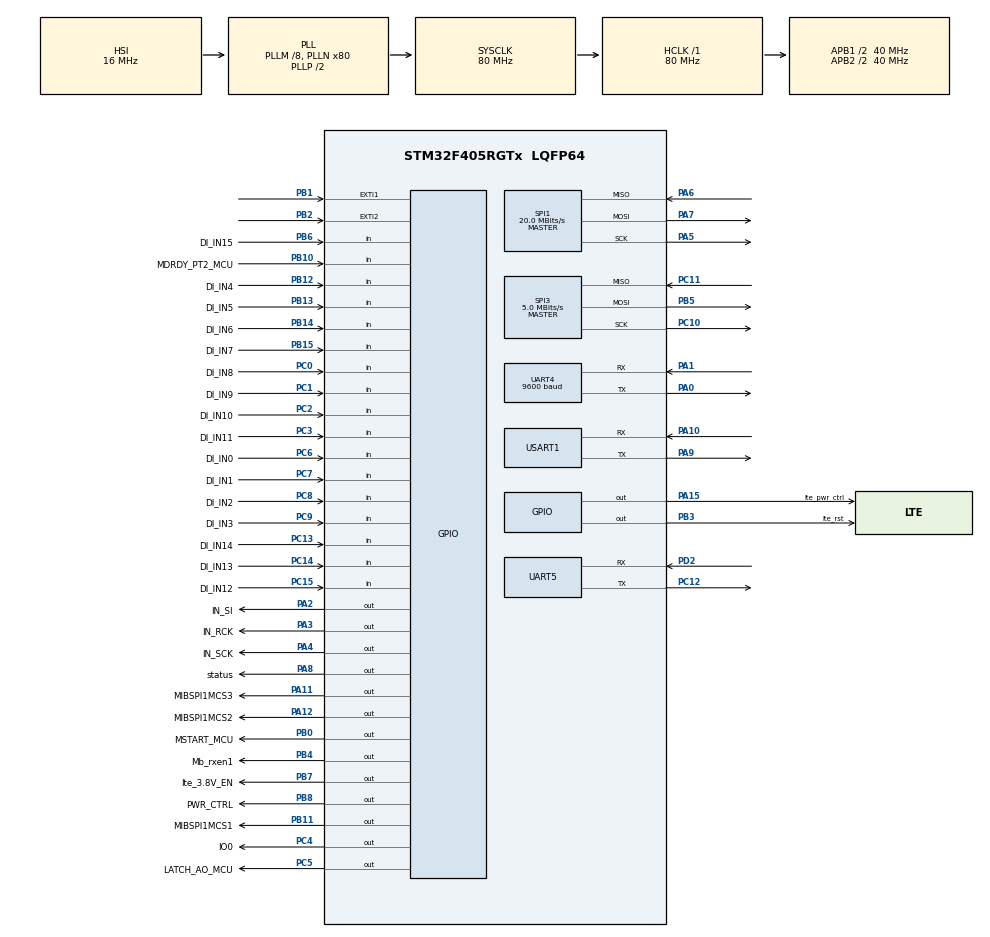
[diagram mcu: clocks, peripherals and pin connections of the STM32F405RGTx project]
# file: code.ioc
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Dma.Request0=UART4_RX
Dma.Request1=UART5_RX
Dma.Request2=USART1_RX
Dma.UART4_RX.0.Direction=DMA_PERIPH_TO_MEMORY
Dma.UART4_RX.0.FIFOMode=DMA_FIFOMODE_DISABLE
Dma.UART4_RX.0.Instance=DMA1_Stream2
Dma.UART4_RX.0.MemDataAlignment=DMA_MDATAALIGN_BYTE
Dma.UART4_RX.0.MemInc=DMA_MINC_ENABLE
Dma.UART4_RX.0.Mode=DMA_NORMAL
Dma.UART4_RX.0.PeriphDataAlignment=DMA_PDATAALIGN_BYTE
Dma.UART4_RX.0.PeriphInc=DMA_PINC_DISABLE
Dma.UART4_RX.0.Priority=DMA_PRIORITY_LOW
Dma.UART5_RX.1.Direction=DMA_PERIPH_TO_MEMORY
Dma.UART5_RX.1.FIFOMode=DMA_FIFOMODE_DISABLE
Dma.UART5_RX.1.Instance=DMA1_Stream0
Dma.UART5_RX.1.MemDataAlignment=DMA_MDATAALIGN_BYTE
Dma.UART5_RX.1.MemInc=DMA_MINC_ENABLE
Dma.UART5_RX.1.Mode=DMA_NORMAL
Dma.UART5_RX.1.PeriphDataAlignment=DMA_PDATAALIGN_BYTE
Dma.UART5_RX.1.PeriphInc=DMA_PINC_DISABLE
Dma.UART5_RX.1.Priority=DMA_PRIORITY_LOW
Dma.USART1_RX.2.Direction=DMA_PERIPH_TO_MEMORY
Dma.USART1_RX.2.FIFOMode=DMA_FIFOMODE_DISABLE
Dma.USART1_RX.2.Instance=DMA2_Stream2
Dma.USART1_RX.2.MemDataAlignment=DMA_MDATAALIGN_BYTE
Dma.USART1_RX.2.MemInc=DMA_MINC_ENABLE
Dma.USART1_RX.2.Mode=DMA_NORMAL
Dma.USART1_RX.2.PeriphDataAlignment=DMA_PDATAALIGN_BYTE
Dma.USART1_RX.2.PeriphInc=DMA_PINC_DISABLE
Dma.USART1_RX.2.Priority=DMA_PRIORITY_LOW
Mcu.Family=STM32F4
Mcu.Name=STM32F405RGTx
Mcu.Package=LQFP64
NVIC.DMA1_Stream0_IRQn=true\:0\:0\:false\:false\:true\:false\:true\:true
NVIC.DMA1_Stream2_IRQn=true\:0\:0\:false\:false\:true\:false\:true\:true
NVIC.DMA2_Stream2_IRQn=true\:0\:0\:false\:false\:true\:false\:true\:true
NVIC.EXTI1_IRQn=true\:0\:0\:false\:false\:true\:true\:true\:true
NVIC.EXTI2_IRQn=true\:0\:0\:false\:false\:true\:true\:true\:true
NVIC.PriorityGroup=NVIC_PRIORITYGROUP_4
NVIC.UART4_IRQn=true\:0\:0\:false\:false\:true\:true\:true\:true
NVIC.UART5_IRQn=true\:0\:0\:false\:false\:true\:true\:true\:true
NVIC.USART1_IRQn=true\:0\:0\:false\:false\:true\:true\:true\:true
PA0-WKUP.Mode=Asynchronous
PA0-WKUP.Signal=UART4_TX
PA1.Mode=Asynchronous
PA1.Signal=UART4_RX
PA10.Mode=Asynchronous
PA10.Signal=USART1_RX
PA11.GPIO_Label=MIBSPI1MCS3
PA11.Signal=GPIO_Output
PA12.GPIO_Label=MIBSPI1MCS2
PA12.Signal=GPIO_Output
PA13.Mode=Serial_Wire
PA13.Signal=SYS_JTMS-SWDIO
PA14.Mode=Serial_Wire
PA14.Signal=SYS_JTCK-SWCLK
PA15.GPIO_Label=lte_pwr_ctrl
PA15.Signal=GPIO_Output
PA2.GPIO_Label=IN_SI
PA2.Signal=GPIO_Output
PA3.GPIO_Label=IN_RCK
PA3.Signal=GPIO_Output
PA4.GPIO_Label=IN_SCK
PA4.Signal=GPIO_Output
PA5.Mode=Full_Duplex_Master
PA5.Signal=SPI1_SCK
PA6.Mode=Full_Duplex_Master
PA6.Signal=SPI1_MISO
PA7.Mode=Full_Duplex_Master
PA7.Signal=SPI1_MOSI
PA8.GPIO_Label=status
PA8.Signal=GPIO_Output
PA9.Mode=Asynchronous
PA9.Signal=USART1_TX
PB0.GPIO_Label=MSTART_MCU
PB0.Signal=GPIO_Output
PB1.GPIO_ModeDefaultEXTI=GPIO_MODE_IT_FALLING
PB1.GPIO_PuPd=GPIO_PULLUP
PB1.Signal=GPXTI1
PB10.GPIO_Label=MDRDY_PT2_MCU
PB10.Signal=GPIO_Input
PB11.GPIO_Label=MIBSPI1MCS1
PB11.GPIO_PuPd=GPIO_PULLUP
PB11.PinState=GPIO_PIN_SET
PB11.Signal=GPIO_Output
PB12.GPIO_Label=DI_IN4
PB12.Signal=GPIO_Input
PB13.GPIO_Label=DI_IN5
PB13.Signal=GPIO_Input
PB14.GPIO_Label=DI_IN6
PB14.Signal=GPIO_Input
PB15.GPIO_Label=DI_IN7
PB15.Signal=GPIO_Input
PB2.GPIO_ModeDefaultEXTI=GPIO_MODE_IT_FALLING
PB2.GPIO_PuPd=GPIO_PULLUP
PB2.Signal=GPXTI2
PB3.GPIO_Label=lte_rst
PB3.Signal=GPIO_Output
PB4.GPIO_Label=Mb_rxen1
PB4.Signal=GPIO_Output
PB5.Mode=Full_Duplex_Master
PB5.Signal=SPI3_MOSI
PB6.GPIO_Label=DI_IN15
PB6.Signal=GPIO_Input
PB7.GPIO_Label=lte_3.8V_EN
PB7.Signal=GPIO_Output
PB8.GPIO_Label=PWR_CTRL
PB8.Signal=GPIO_Output
PC0.GPIO_Label=DI_IN8
PC0.Signal=GPIO_Input
PC1.GPIO_Label=DI_IN9
PC1.Signal=GPIO_Input
PC10.Mode=Full_Duplex_Master
PC10.Signal=SPI3_SCK
PC11.Mode=Full_Duplex_Master
PC11.Signal=SPI3_MISO
PC12.Mode=Asynchronous
PC12.Signal=UART5_TX
PC13-ANTI_TAMP.GPIO_Label=DI_IN14
PC13-ANTI_TAMP.Signal=GPIO_Input
PC14-OSC32_IN.GPIO_Label=DI_IN13
PC14-OSC32_IN.Signal=GPIO_Input
PC15-OSC32_OUT.GPIO_Label=DI_IN12
PC15-OSC32_OUT.Signal=GPIO_Input
PC2.GPIO_Label=DI_IN10
PC2.Signal=GPIO_Input
PC3.GPIO_Label=DI_IN11
PC3.Signal=GPIO_Input
PC4.GPIO_Label=IO0
PC4.Signal=GPIO_Output
PC5.GPIO_Label=LATCH_AO_MCU
PC5.Signal=GPIO_Output
PC6.GPIO_Label=DI_IN0
PC6.Signal=GPIO_Input
PC7.GPIO_Label=DI_IN1
PC7.Signal=GPIO_Input
PC8.GPIO_Label=DI_IN2
PC8.Signal=GPIO_Input
PC9.GPIO_Label=DI_IN3
PC9.Signal=GPIO_Input
PD2.Mode=Asynchronous
PD2.Signal=UART5_RX
PH0-OSC_IN.Mode=HSE-External-Oscillator
PH0-OSC_IN.Signal=RCC_OSC_IN
PH1-OSC_OUT.Mode=HSE-External-Oscillator
PH1-OSC_OUT.Signal=RCC_OSC_OUT
ProjectManager.HeapSize=0x2000
ProjectManager.StackSize=0x10400
ProjectManager.TargetToolchain=MDK-ARM V5
RCC.48MHZClocksFreq_Value=40000000
RCC.AHBFreq_Value=80000000
RCC.APB1CLKDivider=RCC_HCLK_DIV2
RCC.APB1Freq_Value=40000000
RCC.APB1TimFreq_Value=80000000
RCC.APB2CLKDivider=RCC_HCLK_DIV2
RCC.APB2Freq_Value=40000000
RCC.APB2TimFreq_Value=80000000
RCC.CortexFreq_Value=80000000
RCC.HCLKFreq_Value=80000000
RCC.HSE_VALUE=8000000
RCC.HSI_VALUE=16000000
RCC.LSE_VALUE=32768
RCC.PLLM=8
RCC.PLLN=80
RCC.RCC_RTC_Clock_Source_FROM_HSE=RCC_RTCCLKSOURCE_HSE_DIV25
RCC.SYSCLKFreq_VALUE=80000000
RCC.SYSCLKSource=RCC_SYSCLKSOURCE_PLLCLK
RCC.VCOOutputFreq_Value=160000000
RTC.SynchPrediv=249
SPI1.BaudRatePrescaler=SPI_BAUDRATEPRESCALER_2
SPI1.CalculateBaudRate=20.0 MBits/s
SPI1.Direction=SPI_DIRECTION_2LINES
SPI1.Mode=SPI_MODE_MASTER
SPI1.VirtualType=VM_MASTER
SPI3.BaudRatePrescaler=SPI_BAUDRATEPRESCALER_8
SPI3.CalculateBaudRate=5.0 MBits/s
SPI3.Direction=SPI_DIRECTION_2LINES
SPI3.Mode=SPI_MODE_MASTER
SPI3.VirtualType=VM_MASTER
UART4.BaudRate=9600
UART4.VirtualMode=Asynchronous
UART5.VirtualMode=Asynchronous
USART1.VirtualMode=VM_ASYNC
VP_RTC_VS_RTC_Activate.Mode=RTC_Enabled
board=custom

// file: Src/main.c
/* USER CODE BEGIN Header */
/**
  ******************************************************************************
  * @file           : main.c
  * @brief          : Main program body
  ******************************************************************************
  * @attention
  *
  * <h2><center>&copy; Copyright (c) 2023 STMicroelectronics.
  * All rights reserved.</center></h2>
  *
  * This software component is licensed by ST under BSD 3-Clause license,
  * the "License"; You may not use this file except in compliance with the
  * License. You may obtain a copy of the License at:
  *                        opensource.org/licenses/BSD-3-Clause
  *
  ******************************************************************************
  */
/* USER CODE END Header */
#include "main.h"

/* USER CODE BEGIN Includes */
#include "app.h"
#include "update.h"
//#include "cat1.h"
/* USER CODE END Includes */

RTC_HandleTypeDef hrtc;

SPI_HandleTypeDef hspi1;
SPI_HandleTypeDef hspi3;

UART_HandleTypeDef huart4;
UART_HandleTypeDef huart5;
UART_HandleTypeDef huart1;
DMA_HandleTypeDef hdma_uart4_rx;
DMA_HandleTypeDef hdma_uart5_rx;
DMA_HandleTypeDef hdma_usart1_rx;

void SystemClock_Config(void);
static void MX_GPIO_Init(void);
static void MX_DMA_Init(void);
static void MX_SPI3_Init(void);
static void MX_UART4_Init(void);
static void MX_UART5_Init(void);
static void MX_USART1_UART_Init(void);
static void MX_SPI1_Init(void);
static void MX_RTC_Init(void);

int main(void)
{
  /* USER CODE BEGIN 1 */
	 #if defined(APP1)||defined(APP2)||defined(APP3)
	//__disable_irq();NVIC_SystemReset();//��λ����
	__HAL_RCC_PWR_CLK_DISABLE();
	HAL_RCC_DeInit();
	__enable_irq();
	#endif
  /* USER CODE END 1 */

  /* MCU Configuration--------------------------------------------------------*/

  /* Reset of all peripherals, Initializes the Flash interface and the Systick. */
  HAL_Init();

  /* Configure the system clock */
  SystemClock_Config();

  /* USER CODE BEGIN SysInit */
__HAL_RCC_CLEAR_RESET_FLAGS();
  /* USER CODE END SysInit */

  /* Initialize all configured peripherals */
  MX_GPIO_Init();
  MX_DMA_Init();
  MX_SPI3_Init();
  MX_UART4_Init();
  MX_UART5_Init();
  MX_USART1_UART_Init();
  MX_SPI1_Init();
  MX_RTC_Init();
  /* USER CODE BEGIN 2 */
	#if BOOTLOADER
HAL_Delay(3000);

   /* USER CODE BEGIN WHILE */
	  while (1)
  {
    /* USER CODE END WHILE */

    /* USER CODE BEGIN 3 */
		Start_BootLoader();
  }
	#endif
	 #if defined(APP1)||defined(APP2)||defined(APP3)
 hardware_init();
 #endif
 /* USER CODE END 2 */
  /* Infinite loop */
  while (1)
  {

    /* USER CODE BEGIN 3 */
		//HAL_Delay(1000);
		//HAL_GPIO_TogglePin(status_GPIO_Port,status_Pin );
		       // HAL_GPIO_WritePin(Mb_rxen1_GPIO_Port, Mb_rxen1_Pin, GPIO_PIN_SET);
//	uint8_t addr;
//	addr = 0x5a;
//        HAL_UART_Transmit(&huart4, &addr, 1, 100);
//        HAL_Delay(1);
//        HAL_GPIO_WritePin(Mb_rxen1_GPIO_Port, Mb_rxen1_Pin, GPIO_PIN_RESET);
//		HAL_Delay(1000);
#if defined(APP1)||defined(APP2)||defined(APP3)
		app_proc();
#endif
  }
  /* USER CODE END 3 */
}

void SystemClock_Config(void)
{
  RCC_OscInitTypeDef RCC_OscInitStruct = {0};
  RCC_ClkInitTypeDef RCC_ClkInitStruct = {0};

  /** Configure the main internal regulator output voltage
  */
  __HAL_RCC_PWR_CLK_ENABLE();
  __HAL_PWR_VOLTAGESCALING_CONFIG(PWR_REGULATOR_VOLTAGE_SCALE1);

  /** Initializes the RCC Oscillators according to the specified parameters
  * in the RCC_OscInitTypeDef structure.
  */
  RCC_OscInitStruct.OscillatorType = RCC_OSCILLATORTYPE_HSI|RCC_OSCILLATORTYPE_LSI;
  RCC_OscInitStruct.HSIState = RCC_HSI_ON;
  RCC_OscInitStruct.HSICalibrationValue = RCC_HSICALIBRATION_DEFAULT;
  RCC_OscInitStruct.LSIState = RCC_LSI_ON;
  RCC_OscInitStruct.PLL.PLLState = RCC_PLL_ON;
  RCC_OscInitStruct.PLL.PLLSource = RCC_PLLSOURCE_HSI;
  RCC_OscInitStruct.PLL.PLLM = 8;
  RCC_OscInitStruct.PLL.PLLN = 80;
  RCC_OscInitStruct.PLL.PLLP = RCC_PLLP_DIV2;
  RCC_OscInitStruct.PLL.PLLQ = 4;
  if (HAL_RCC_OscConfig(&RCC_OscInitStruct) != HAL_OK)
  {
    Error_Handler();
  }

  /** Initializes the CPU, AHB and APB buses clocks
  */
  RCC_ClkInitStruct.ClockType = RCC_CLOCKTYPE_HCLK|RCC_CLOCKTYPE_SYSCLK
                              |RCC_CLOCKTYPE_PCLK1|RCC_CLOCKTYPE_PCLK2;
  RCC_ClkInitStruct.SYSCLKSource = RCC_SYSCLKSOURCE_PLLCLK;
  RCC_ClkInitStruct.AHBCLKDivider = RCC_SYSCLK_DIV1;
  RCC_ClkInitStruct.APB1CLKDivider = RCC_HCLK_DIV2;
  RCC_ClkInitStruct.APB2CLKDivider = RCC_HCLK_DIV2;

  if (HAL_RCC_ClockConfig(&RCC_ClkInitStruct, FLASH_LATENCY_2) != HAL_OK)
  {
    Error_Handler();
  }
}

static void MX_RTC_Init(void)
{

  /* USER CODE BEGIN RTC_Init 0 */

  RTC_TimeTypeDef sTime = {0};
  RTC_DateTypeDef sDate = {0};

  /* USER CODE END RTC_Init 0 */

  /** Initialize RTC Only
  */
  hrtc.Instance = RTC;
  hrtc.Init.HourFormat = RTC_HOURFORMAT_24;
  hrtc.Init.AsynchPrediv = 127;
  hrtc.Init.SynchPrediv = 249;
  hrtc.Init.OutPut = RTC_OUTPUT_DISABLE;
  hrtc.Init.OutPutPolarity = RTC_OUTPUT_POLARITY_HIGH;
  hrtc.Init.OutPutType = RTC_OUTPUT_TYPE_OPENDRAIN;
  if (HAL_RTC_Init(&hrtc) != HAL_OK)
  {
    Error_Handler();
  }
  /* USER CODE BEGIN RTC_Init 2 */
  if(HAL_RTCEx_BKUPRead(&hrtc,RTC_BKP_DR0)!=0x5A5A) 			/* ??��?2?��|?��o???��?D???��?��?1y?��??????RTC?��o??����?��o??����|��??|��??2??a?��o?��?RTC?��o?����??��? */
	{
	/* USER CODE END Check_RTC_BKUP */

	/** Initialize RTC and set the Time and Date
	*/
	sTime.Hours = 0x14;
	sTime.Minutes = 0x39;
	sTime.Seconds = 0x0;
	sTime.SubSeconds = 0x0;
	sTime.DayLightSaving = RTC_DAYLIGHTSAVING_NONE;
	sTime.StoreOperation = RTC_STOREOPERATION_RESET;
	if (HAL_RTC_SetTime(&hrtc, &sTime, RTC_FORMAT_BCD) != HAL_OK)
	{
	  Error_Handler();
	}
	sDate.WeekDay = RTC_WEEKDAY_SATURDAY;
	sDate.Month = RTC_MONTH_JUNE;
	sDate.Date = 0x1;
	sDate.Year = 0x24;
	if (HAL_RTC_SetDate(&hrtc, &sDate, RTC_FORMAT_BCD) != HAL_OK)
	{
	  Error_Handler();
	}

	/** Enable the Alarm A
	*/
//	sAlarm.AlarmTime.Hours = 0x14;
//	sAlarm.AlarmTime.Minutes = 0x30;
//	sAlarm.AlarmTime.Seconds = 0x20;
//	sAlarm.AlarmTime.SubSeconds = 0x0;
//	sAlarm.AlarmMask = RTC_ALARMMASK_NONE;
//	sAlarm.AlarmSubSecondMask = RTC_ALARMSUBSECONDMASK_SS14_9;
//	sAlarm.AlarmDateWeekDaySel = RTC_ALARMDATEWEEKDAYSEL_DATE;
//	sAlarm.AlarmDateWeekDay = 0x1;
//	sAlarm.Alarm = RTC_ALARM_A;
//	if (HAL_RTC_SetAlarm_IT(&hrtc, &sAlarm, RTC_FORMAT_BIN) != HAL_OK)
//	{
//	  Error_Handler();
//	}
	/* USER CODE BEGIN RTC_Init 2 */
	HAL_RTCEx_BKUPWrite(&hrtc, RTC_BKP_DR0, 0x0000);  //?a?��?��???��a?��o????a??????????|��???����?��o???��|?��?��?a??2?|��???????|��??��o??????|��??|��??o?��???��a2???��?��???��?��?|��???a?��?��??��?��??
	}

  /* USER CODE END RTC_Init 2 */

}

static void MX_SPI1_Init(void)
{

  /* SPI1 parameter configuration*/
  hspi1.Instance = SPI1;
  hspi1.Init.Mode = SPI_MODE_MASTER;
  hspi1.Init.Direction = SPI_DIRECTION_2LINES;
  hspi1.Init.DataSize = SPI_DATASIZE_8BIT;
  hspi1.Init.CLKPolarity = SPI_POLARITY_LOW;
  hspi1.Init.CLKPhase = SPI_PHASE_1EDGE;
  hspi1.Init.NSS = SPI_NSS_SOFT;
  hspi1.Init.BaudRatePrescaler = SPI_BAUDRATEPRESCALER_2;
  hspi1.Init.FirstBit = SPI_FIRSTBIT_MSB;
  hspi1.Init.TIMode = SPI_TIMODE_DISABLE;
  hspi1.Init.CRCCalculation = SPI_CRCCALCULATION_DISABLE;
  hspi1.Init.CRCPolynomial = 10;
  if (HAL_SPI_Init(&hspi1) != HAL_OK)
  {
    Error_Handler();
  }

}

static void MX_SPI3_Init(void)
{

  /* SPI3 parameter configuration*/
  hspi3.Instance = SPI3;
  hspi3.Init.Mode = SPI_MODE_MASTER;
  hspi3.Init.Direction = SPI_DIRECTION_2LINES;
  hspi3.Init.DataSize = SPI_DATASIZE_8BIT;
  hspi3.Init.CLKPolarity = SPI_POLARITY_LOW;
  hspi3.Init.CLKPhase = SPI_PHASE_1EDGE;
  hspi3.Init.NSS = SPI_NSS_SOFT;
  hspi3.Init.BaudRatePrescaler = SPI_BAUDRATEPRESCALER_8;
  hspi3.Init.FirstBit = SPI_FIRSTBIT_MSB;
  hspi3.Init.TIMode = SPI_TIMODE_DISABLE;
  hspi3.Init.CRCCalculation = SPI_CRCCALCULATION_DISABLE;
  hspi3.Init.CRCPolynomial = 10;
  if (HAL_SPI_Init(&hspi3) != HAL_OK)
  {
    Error_Handler();
  }

}

static void MX_UART4_Init(void)
{

  huart4.Instance = UART4;
  huart4.Init.BaudRate = 9600;
  huart4.Init.WordLength = UART_WORDLENGTH_8B;
  huart4.Init.StopBits = UART_STOPBITS_1;
  huart4.Init.Parity = UART_PARITY_NONE;
  huart4.Init.Mode = UART_MODE_TX_RX;
  huart4.Init.HwFlowCtl = UART_HWCONTROL_NONE;
  huart4.Init.OverSampling = UART_OVERSAMPLING_16;
  if (HAL_UART_Init(&huart4) != HAL_OK)
  {
    Error_Handler();
  }

}

static void MX_UART5_Init(void)
{

  huart5.Instance = UART5;
  huart5.Init.BaudRate = 115200;
  huart5.Init.WordLength = UART_WORDLENGTH_8B;
  huart5.Init.StopBits = UART_STOPBITS_1;
  huart5.Init.Parity = UART_PARITY_NONE;
  huart5.Init.Mode = UART_MODE_TX_RX;
  huart5.Init.HwFlowCtl = UART_HWCONTROL_NONE;
  huart5.Init.OverSampling = UART_OVERSAMPLING_16;
  if (HAL_UART_Init(&huart5) != HAL_OK)
  {
    Error_Handler();
  }

}

static void MX_USART1_UART_Init(void)
{

  huart1.Instance = USART1;
  huart1.Init.BaudRate = 115200;
  huart1.Init.WordLength = UART_WORDLENGTH_8B;
  huart1.Init.StopBits = UART_STOPBITS_1;
  huart1.Init.Parity = UART_PARITY_NONE;
  huart1.Init.Mode = UART_MODE_TX_RX;
  huart1.Init.HwFlowCtl = UART_HWCONTROL_NONE;
  huart1.Init.OverSampling = UART_OVERSAMPLING_16;
  if (HAL_UART_Init(&huart1) != HAL_OK)
  {
    Error_Handler();
  }

}

static void MX_DMA_Init(void)
{

  /* DMA controller clock enable */
  __HAL_RCC_DMA1_CLK_ENABLE();
  __HAL_RCC_DMA2_CLK_ENABLE();

  /* DMA interrupt init */
  /* DMA1_Stream0_IRQn interrupt configuration */
  HAL_NVIC_SetPriority(DMA1_Stream0_IRQn, 0, 0);
  HAL_NVIC_EnableIRQ(DMA1_Stream0_IRQn);
  /* DMA1_Stream2_IRQn interrupt configuration */
  HAL_NVIC_SetPriority(DMA1_Stream2_IRQn, 0, 0);
  HAL_NVIC_EnableIRQ(DMA1_Stream2_IRQn);
  /* DMA2_Stream2_IRQn interrupt configuration */
  HAL_NVIC_SetPriority(DMA2_Stream2_IRQn, 0, 0);
  HAL_NVIC_EnableIRQ(DMA2_Stream2_IRQn);

}

static void MX_GPIO_Init(void)
{
  GPIO_InitTypeDef GPIO_InitStruct = {0};

  /* GPIO Ports Clock Enable */
  __HAL_RCC_GPIOC_CLK_ENABLE();
  __HAL_RCC_GPIOH_CLK_ENABLE();
  __HAL_RCC_GPIOA_CLK_ENABLE();
  __HAL_RCC_GPIOB_CLK_ENABLE();
  __HAL_RCC_GPIOD_CLK_ENABLE();

  /*Configure GPIO pin Output Level */
  HAL_GPIO_WritePin(GPIOA, IN_SI_Pin|IN_RCK_Pin|IN_SCK_Pin|status_Pin
                          |MIBSPI1MCS3_Pin|MIBSPI1MCS2_Pin|lte_pwr_ctrl_Pin, GPIO_PIN_RESET);

  /*Configure GPIO pin Output Level */
  HAL_GPIO_WritePin(GPIOC, IO0_Pin|LATCH_AO_MCU_Pin, GPIO_PIN_RESET);

  /*Configure GPIO pin Output Level */
  HAL_GPIO_WritePin(GPIOB, MSTART_MCU_Pin|lte_rst_Pin|Mb_rxen1_Pin|lte_3_8V_EN_Pin
                          |PWR_CTRL_Pin, GPIO_PIN_RESET);

  /*Configure GPIO pin Output Level */
  HAL_GPIO_WritePin(MIBSPI1MCS1_GPIO_Port, MIBSPI1MCS1_Pin, GPIO_PIN_SET);

  /*Configure GPIO pins : DI_IN14_Pin DI_IN13_Pin DI_IN12_Pin DI_IN8_Pin
                           DI_IN9_Pin DI_IN10_Pin DI_IN11_Pin DI_IN0_Pin
                           DI_IN1_Pin DI_IN2_Pin DI_IN3_Pin */
  GPIO_InitStruct.Pin = DI_IN14_Pin|DI_IN13_Pin|DI_IN12_Pin|DI_IN8_Pin
                          |DI_IN9_Pin|DI_IN10_Pin|DI_IN11_Pin|DI_IN0_Pin
                          |DI_IN1_Pin|DI_IN2_Pin|DI_IN3_Pin;
  GPIO_InitStruct.Mode = GPIO_MODE_INPUT;
  GPIO_InitStruct.Pull = GPIO_NOPULL;
  HAL_GPIO_Init(GPIOC, &GPIO_InitStruct);

  /*Configure GPIO pins : IN_SI_Pin IN_RCK_Pin IN_SCK_Pin status_Pin
                           MIBSPI1MCS3_Pin MIBSPI1MCS2_Pin lte_pwr_ctrl_Pin */
  GPIO_InitStruct.Pin = IN_SI_Pin|IN_RCK_Pin|IN_SCK_Pin|status_Pin
                          |MIBSPI1MCS3_Pin|MIBSPI1MCS2_Pin|lte_pwr_ctrl_Pin;
  GPIO_InitStruct.Mode = GPIO_MODE_OUTPUT_PP;
  GPIO_InitStruct.Pull = GPIO_NOPULL;
  GPIO_InitStruct.Speed = GPIO_SPEED_FREQ_LOW;
  HAL_GPIO_Init(GPIOA, &GPIO_InitStruct);

  /*Configure GPIO pins : IO0_Pin LATCH_AO_MCU_Pin */
  GPIO_InitStruct.Pin = IO0_Pin|LATCH_AO_MCU_Pin;
  GPIO_InitStruct.Mode = GPIO_MODE_OUTPUT_PP;
  GPIO_InitStruct.Pull = GPIO_NOPULL;
  GPIO_InitStruct.Speed = GPIO_SPEED_FREQ_LOW;
  HAL_GPIO_Init(GPIOC, &GPIO_InitStruct);

  /*Configure GPIO pins : MSTART_MCU_Pin lte_rst_Pin Mb_rxen1_Pin lte_3_8V_EN_Pin
                           PWR_CTRL_Pin */
  GPIO_InitStruct.Pin = MSTART_MCU_Pin|lte_rst_Pin|Mb_rxen1_Pin|lte_3_8V_EN_Pin
                          |PWR_CTRL_Pin;
  GPIO_InitStruct.Mode = GPIO_MODE_OUTPUT_PP;
  GPIO_InitStruct.Pull = GPIO_NOPULL;
  GPIO_InitStruct.Speed = GPIO_SPEED_FREQ_LOW;
  HAL_GPIO_Init(GPIOB, &GPIO_InitStruct);

  /*Configure GPIO pins : PB1 PB2 */
  GPIO_InitStruct.Pin = GPIO_PIN_1|GPIO_PIN_2;
  GPIO_InitStruct.Mode = GPIO_MODE_IT_FALLING;
  GPIO_InitStruct.Pull = GPIO_PULLUP;
  HAL_GPIO_Init(GPIOB, &GPIO_InitStruct);

  /*Configure GPIO pins : MDRDY_PT2_MCU_Pin DI_IN4_Pin DI_IN5_Pin DI_IN6_Pin
                           DI_IN7_Pin DI_IN15_Pin */
  GPIO_InitStruct.Pin = MDRDY_PT2_MCU_Pin|DI_IN4_Pin|DI_IN5_Pin|DI_IN6_Pin
                          |DI_IN7_Pin|DI_IN15_Pin;
  GPIO_InitStruct.Mode = GPIO_MODE_INPUT;
  GPIO_InitStruct.Pull = GPIO_NOPULL;
  HAL_GPIO_Init(GPIOB, &GPIO_InitStruct);

  /*Configure GPIO pin : MIBSPI1MCS1_Pin */
  GPIO_InitStruct.Pin = MIBSPI1MCS1_Pin;
  GPIO_InitStruct.Mode = GPIO_MODE_OUTPUT_PP;
  GPIO_InitStruct.Pull = GPIO_PULLUP;
  GPIO_InitStruct.Speed = GPIO_SPEED_FREQ_LOW;
  HAL_GPIO_Init(MIBSPI1MCS1_GPIO_Port, &GPIO_InitStruct);

  /* EXTI interrupt init*/
  HAL_NVIC_SetPriority(EXTI1_IRQn, 0, 0);
  HAL_NVIC_EnableIRQ(EXTI1_IRQn);

  HAL_NVIC_SetPriority(EXTI2_IRQn, 0, 0);
  HAL_NVIC_EnableIRQ(EXTI2_IRQn);

}

void Error_Handler(void)
{
  /* USER CODE BEGIN Error_Handler_Debug */
  /* User can add his own implementation to report the HAL error return state */
HAL_NVIC_SystemReset();
  /* USER CODE END Error_Handler_Debug */
}
